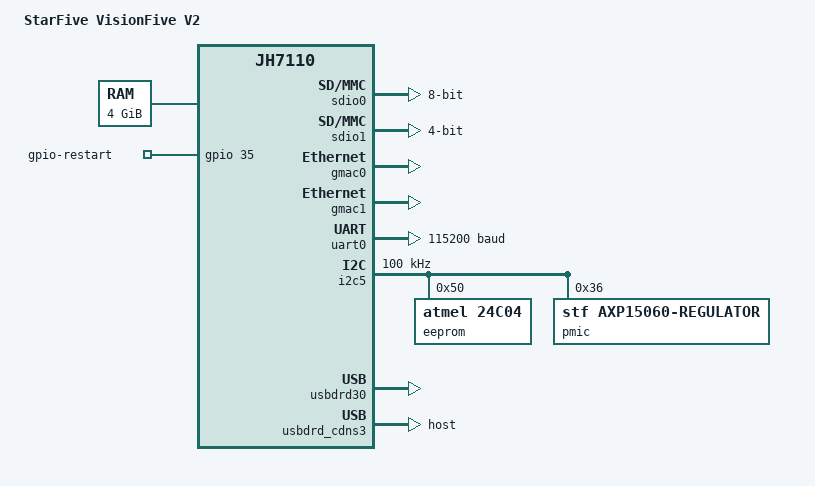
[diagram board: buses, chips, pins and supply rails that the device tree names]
// SPDX-License-Identifier: GPL-2.0 OR MIT
/*
 * Copyright (C) 2022 StarFive Technology Co., Ltd.
 */

/dts-v1/;

#include "jh7110.dtsi"
#include <dt-bindings/gpio/gpio.h>
#include <dt-bindings/pinctrl/pinctrl-starfive-jh7110.h>
/ {
	#address-cells = <2>;
	#size-cells = <2>;
	model = "StarFive VisionFive V2";
	compatible = "starfive,jh7110";

	aliases {
		spi0="/soc/spi@13010000";
		gpio0="/soc/gpio@13040000";
		ethernet0=&gmac0;
		ethernet1=&gmac1;
		mmc0=&sdio0;
		mmc1=&sdio1;
		i2c0 = &i2c5;
	};

	chosen {
			stdout-path = "/soc/serial@10000000:115200";
			starfive,boot-hart-id = <1>;
	};


	memory@80000000 {
		device_type = "memory";
		reg = <0x0 0x40000000 0x1 0x0>;
	};

	soc {
	};

	gpio-restart {
		compatible = "gpio-restart";
		gpios = <&gpio 35 GPIO_ACTIVE_HIGH>;
	};
};

&cpu0 {
	status = "okay";
};

&clkgen {
	clocks = <&osc>, <&gmac1_rmii_refin>,
		<&stg_apb>, <&gmac0_rmii_refin>;
	clock-names = "osc", "gmac1_rmii_refin",
		"stg_apb", "gmac0_rmii_refin";
};

&gpio {
	status = "okay";
	gpio-controller;
	uart0_pins: uart0-0 {
		tx-pins {
			pinmux = <GPIOMUX(5, GPOUT_SYS_UART0_TX,
						GPOEN_ENABLE, GPI_NONE)>;
			bias-disable;
			drive-strength = <12>;
			input-disable;
			input-schmitt-disable;
			slew-rate = <0>;
		};

		rx-pins {
			pinmux = <GPIOMUX(6, GPOUT_LOW,
						GPOEN_DISABLE, GPI_SYS_UART0_RX)>;
			bias-pull-up;
			drive-strength = <2>;
			input-enable;
			input-schmitt-enable;
			slew-rate = <0>;
		};
	};

	mmc0_pins: mmc0-pins {
		 mmc0-pins-rest {
			pinmux = <GPIOMUX(62, GPOUT_SYS_SDIO0_RST,
						GPOEN_ENABLE, GPI_NONE)>;
			bias-pull-up;
			drive-strength = <12>;
			input-disable;
			input-schmitt-disable;
			slew-rate = <0>;
		};
	};

	sdcard1_pins: sdcard1-pins {
		sdcard1-pins0 {
			pinmux = <GPIOMUX(10, GPOUT_SYS_SDIO1_CLK,
						GPOEN_ENABLE, GPI_NONE)>;
			bias-pull-up;
			drive-strength = <12>;
			input-disable;
			input-schmitt-disable;
			slew-rate = <0>;
		};

		sdcard1-pins1 {
			pinmux = <GPIOMUX(9, GPOUT_SYS_SDIO1_CMD,
						GPOEN_SYS_SDIO1_CMD, GPI_SYS_SDIO1_CMD)>;
			bias-pull-up;
			drive-strength = <12>;
			input-enable;
			input-schmitt-enable;
			slew-rate = <0>;
		};

		sdcard1-pins2 {
			pinmux = <GPIOMUX(11, GPOUT_SYS_SDIO1_DATA0,
						GPOEN_SYS_SDIO1_DATA0, GPI_SYS_SDIO1_DATA0)>;
			bias-pull-up;
			drive-strength = <12>;
			input-enable;
			input-schmitt-enable;
			slew-rate = <0>;
		};

		sdcard1-pins3 {
			pinmux = <GPIOMUX(12, GPOUT_SYS_SDIO1_DATA1,
						GPOEN_SYS_SDIO1_DATA1, GPI_SYS_SDIO1_DATA1)>;
			bias-pull-up;
			drive-strength = <12>;
			input-enable;
			input-schmitt-enable;
			slew-rate = <0>;
		};

		sdcard1-pins4 {
			pinmux = <GPIOMUX(7, GPOUT_SYS_SDIO1_DATA2,
						GPOEN_SYS_SDIO1_DATA2, GPI_SYS_SDIO1_DATA2)>;
			bias-pull-up;
			drive-strength = <12>;
			input-enable;
			input-schmitt-enable;
			slew-rate = <0>;
		};

		sdcard1-pins5 {
			pinmux = <GPIOMUX(8, GPOUT_SYS_SDIO1_DATA3,
						GPOEN_SYS_SDIO1_DATA3, GPI_SYS_SDIO1_DATA3)>;
			bias-pull-up;
			drive-strength = <12>;
			input-enable;
			input-schmitt-enable;
			slew-rate = <0>;
		};
	};
};

&sdio0 {
	fifo-depth = <32>;
	bus-width = <8>;
	pinctrl-names = "default";
	pinctrl-0 = <&mmc0_pins>;
	status = "okay";
};

&sdio1 {
	fifo-depth = <32>;
	bus-width = <4>;
	pinctrl-names = "default";
	pinctrl-0 = <&sdcard1_pins>;
	status = "okay";
};

&gmac0 {
	status = "okay";
	#address-cells = <1>;
	#size-cells = <0>;
	phy0: ethernet-phy@0 {
		rxc_dly_en = <1>;
		tx_delay_sel_fe = <5>;
		tx_delay_sel = <0xa>;
		tx_inverted_10 = <0x1>;
		tx_inverted_100 = <0x1>;
		tx_inverted_1000 = <0x1>;
	};
};

&gmac1 {
	status = "okay";
	#address-cells = <1>;
	#size-cells = <0>;
	phy1: ethernet-phy@1 {
		tx_delay_sel_fe = <5>;
		tx_delay_sel = <0>;
		rxc_dly_en = <0>;
		tx_inverted_10 = <0x1>;
		tx_inverted_100 = <0x1>;
		tx_inverted_1000 = <0x0>;
	};
};

&uart0 {
	reg-offset = <0>;
	current-speed = <115200>;
	pinctrl-names = "default";
	pinctrl-0 = <&uart0_pins>;
	status = "okay";
};

&i2c5 {
	clock-frequency = <100000>;
	i2c-sda-hold-time-ns = <300>;
	i2c-sda-falling-time-ns = <3000>;
	i2c-scl-falling-time-ns = <3000>;
	auto_calc_scl_lhcnt;
	status = "okay";

	eeprom@50 {
		compatible = "atmel,24c04";
		reg = <0x50>;
		pagesize = <16>;
	};

	pmic: axp15060_reg@36 {
               compatible = "stf,axp15060-regulator";
               reg = <0x36>;
	};
};

&gpioa {
	status = "disabled";
};

&usbdrd30 {
	status = "okay";
};

&usbdrd_cdns3 {
	dr_mode = "host";
};

&timer {
	status = "disabled";
};

&wdog {
	status = "disabled";
};

&clkvout {
	status = "disabled";
};

&pdm {
	status = "disabled";
};
